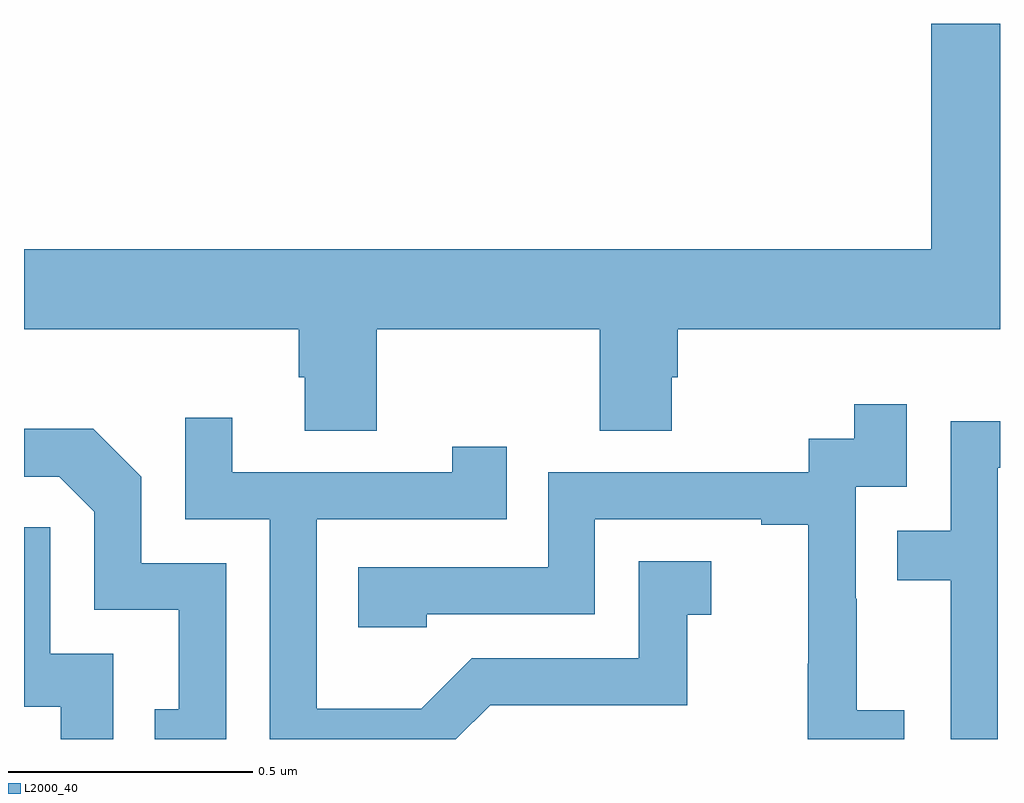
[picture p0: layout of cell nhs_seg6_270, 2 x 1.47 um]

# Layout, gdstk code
import gdstk
lib = gdstk.Library(unit=1e-6, precision=1e-09)
def P(c, l, *ps):  # polygons
    for p in ps: c.add(gdstk.Polygon(p, *l))
L2000_40 = (2000, 40)

nhs_seg6_270 = lib.new_cell('nhs_seg6_270')
P(nhs_seg6_270, L2000_40, [(114.723,943.34),(115.18,943.34),(115.18,943.132),(115.327,943.132),(115.327,943.242),(115.34,943.242),(115.34,943.34),(116,943.34),(116,943.966),(115.859,943.966),(115.859,943.504),(114,943.504),(114,943.34),(114.563,943.34),(114.563,943.242),(114.575,943.242),(114.575,943.132),(114.723,943.132)],
  [(115.804,942.559),(115.706,942.559),(115.706,942.788),(115.704,942.788),(115.704,943.017),(115.809,943.017),(115.809,943.186),(115.701,943.186),(115.701,943.116),(115.608,943.116),(115.608,943.047),(115.074,943.047),(115.074,942.852),(114.685,942.852),(114.685,942.729),(114.825,942.729),(114.825,942.756),(115.17,942.756),(115.17,942.951),(115.511,942.951),(115.511,942.939),(115.607,942.939),(115.607,942.655),(115.606,942.655),(115.606,942.5),(115.804,942.5)],
  [(114.955,942.57),(115.359,942.57),(115.359,942.755),(115.408,942.755),(115.408,942.865),(115.26,942.865),(115.26,942.666),(114.918,942.666),(114.814,942.562),(114.6,942.562),(114.6,942.951),(114.989,942.951),(114.989,943.099),(114.878,943.099),(114.878,943.047),(114.427,943.047),(114.427,943.159),(114.33,943.159),(114.33,942.951),(114.504,942.951),(114.504,942.5),(114.885,942.5)],
  [(115.995,943.056),(116,943.056),(116,943.152),(115.899,943.152),(115.899,942.927),(115.789,942.927),(115.789,942.826),(115.899,942.826),(115.899,942.5),(115.995,942.5)],
  [(114.414,942.861),(114.24,942.861),(114.24,943.038),(114.142,943.136),(114,943.136),(114,943.038),(114.072,943.038),(114.144,942.966),(114.144,942.765),(114.317,942.765),(114.317,942.561),(114.268,942.561),(114.268,942.5),(114.414,942.5)],
  [(114.183,942.675),(114.054,942.675),(114.054,942.934),(114,942.934),(114,942.567),(114.075,942.567),(114.075,942.5),(114.183,942.5)])

lib.write_gds('nhs_seg6_270.gds')
